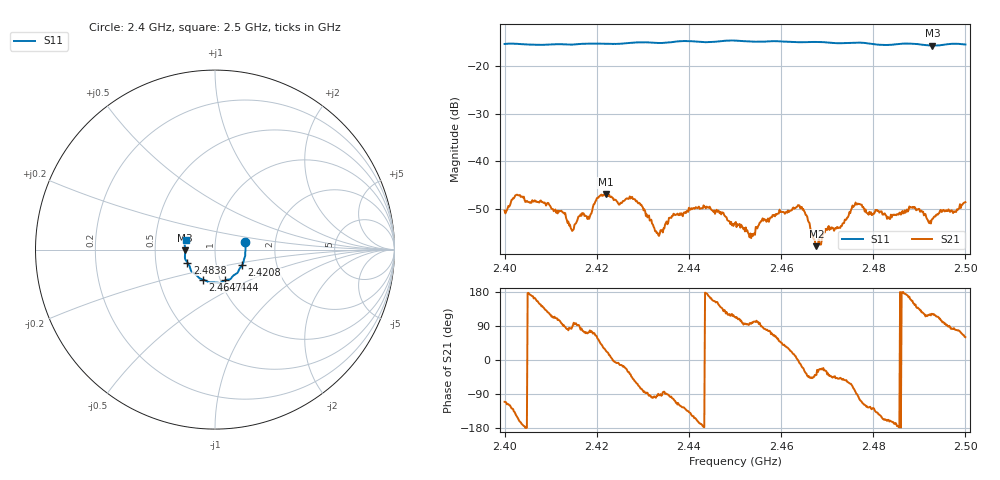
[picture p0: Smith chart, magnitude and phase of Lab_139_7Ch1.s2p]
# Hz S RI R 50
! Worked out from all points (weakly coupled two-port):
!   601 points, 2.4 GHz to 2.5 GHz, reference 50 ohm
!   highest |S21| = -46.97 dB at 2.422 GHz (marker M1); lowest = -57.9 dB at 2.4677 GHz (marker M2)
!   lowest |S11| = -15.6 dB at 2.4928 GHz (marker M3), VSWR 1.40, Z = 35.8 - j0.355 ohm
!   |S11| at or under -10 dB: start of sweep to end of sweep
!   S12 and S22 are empty: the file has one direction only
!   S11 on the Smith chart (normalised r, x): 2.4 GHz: 1.40, +0.12; 2.4208 GHz: 1.33, -0.24; 2.444 GHz: 1.06, -0.37; 2.4647 GHz: 0.83, -0.29; 2.4838 GHz: 0.73, -0.11; 2.5 GHz: 0.72, +0.08
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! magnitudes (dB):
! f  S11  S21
! 2.4 GHz  -15.2  -50.4
! 2.4028 GHz  -15.2  -47.1
! 2.4127 GHz  -15.3  -50.8
! 2.4145 GHz  -15.4  -54.4
! 2.4167 GHz  -15.2  -51.5
! 2.4208 GHz  -15.2  -47.2
! 2.422 GHz  -15.2  -47.0
! 2.4282 GHz  -15.0  -48.0
! 2.4333 GHz  -15.0  -55.5
! 2.4368 GHz  -14.8  -51.2
! 2.444 GHz  -14.9  -49.7
! 2.45 GHz  -14.5  -53.1
! 2.4537 GHz  -14.8  -55.3
! 2.4647 GHz  -14.9  -50.2
! 2.4667 GHz  -14.8  -55.4
! 2.4677 GHz  -14.8  -57.9
! 2.4765 GHz  -15.0  -49.1
! 2.4833 GHz  -15.5  -51.8
! 2.4838 GHz  -15.4  -51.3
! 2.4883 GHz  -15.2  -49.7
! 2.4928 GHz  -15.6  -52.2
! 2.5 GHz  -15.4  -48.6
